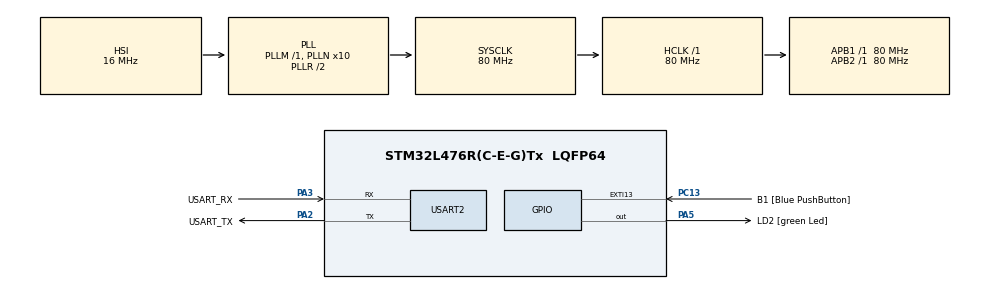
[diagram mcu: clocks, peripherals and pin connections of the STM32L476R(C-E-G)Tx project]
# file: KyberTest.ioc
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Mcu.Family=STM32L4
Mcu.Name=STM32L476R(C-E-G)Tx
Mcu.Package=LQFP64
NVIC.PriorityGroup=NVIC_PRIORITYGROUP_4
NVIC.USART2_IRQn=true\:0\:0\:false\:false\:true\:true\:true\:true
PA13\ (JTMS-SWDIO).GPIO_Label=TMS
PA13\ (JTMS-SWDIO).Mode=Serial_Wire
PA13\ (JTMS-SWDIO).Signal=SYS_JTMS-SWDIO
PA14\ (JTCK-SWCLK).GPIO_Label=TCK
PA14\ (JTCK-SWCLK).Mode=Serial_Wire
PA14\ (JTCK-SWCLK).Signal=SYS_JTCK-SWCLK
PA2.GPIO_Label=USART_TX
PA2.GPIO_Mode=GPIO_MODE_AF_PP
PA2.GPIO_PuPd=GPIO_NOPULL
PA2.GPIO_Speed=GPIO_SPEED_FREQ_VERY_HIGH
PA2.Mode=Asynchronous
PA2.Signal=USART2_TX
PA3.GPIO_Label=USART_RX
PA3.GPIO_Mode=GPIO_MODE_AF_PP
PA3.GPIO_PuPd=GPIO_NOPULL
PA3.GPIO_Speed=GPIO_SPEED_FREQ_VERY_HIGH
PA3.Mode=Asynchronous
PA3.Signal=USART2_RX
PA5.GPIO_Label=LD2 [green Led]
PA5.GPIO_ModeDefaultOutputPP=GPIO_MODE_OUTPUT_PP
PA5.GPIO_PuPd=GPIO_NOPULL
PA5.GPIO_Speed=GPIO_SPEED_FREQ_LOW
PA5.Signal=GPIO_Output
PB3\ (JTDO-TRACESWO).GPIO_Label=SWO
PB3\ (JTDO-TRACESWO).Signal=SYS_JTDO-SWO
PC13.GPIO_Label=B1 [Blue PushButton]
PC13.GPIO_ModeDefaultEXTI=GPIO_MODE_IT_FALLING
PC13.GPIO_PuPd=GPIO_NOPULL
PC13.Signal=GPXTI13
PC14-OSC32_IN\ (PC14).Mode=LSE-External-Oscillator
PC14-OSC32_IN\ (PC14).Signal=RCC_OSC32_IN
PC15-OSC32_OUT\ (PC15).Mode=LSE-External-Oscillator
PC15-OSC32_OUT\ (PC15).Signal=RCC_OSC32_OUT
PH0-OSC_IN\ (PH0).Signal=RCC_OSC_IN
PH1-OSC_OUT\ (PH1).Signal=RCC_OSC_OUT
ProjectManager.HeapSize=0x200
ProjectManager.StackSize=0x400
ProjectManager.TargetToolchain=STM32CubeIDE
RCC.ADCFreq_Value=64000000
RCC.AHBFreq_Value=80000000
RCC.APB1Freq_Value=80000000
RCC.APB1TimFreq_Value=80000000
RCC.APB2Freq_Value=80000000
RCC.APB2TimFreq_Value=80000000
RCC.CortexFreq_Value=80000000
RCC.HCLKFreq_Value=80000000
RCC.HSE_VALUE=8000000
RCC.HSI_VALUE=16000000
RCC.MSI_VALUE=4000000
RCC.PLLN=10
RCC.PLLSourceVirtual=RCC_PLLSOURCE_HSI
RCC.PREFETCH_ENABLE=1
RCC.SYSCLKFreq_VALUE=80000000
RCC.SYSCLKSource=RCC_SYSCLKSOURCE_PLLCLK
RCC.USBFreq_Value=64000000
RCC.VCOOutputFreq_Value=160000000
USART2.VirtualMode-Asynchronous=VM_ASYNC
board=NUCLEO-L476RG

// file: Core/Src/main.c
/* USER CODE BEGIN Header */
/**
  ******************************************************************************
  * @file           : main.c
  * @brief          : Main program body
  ******************************************************************************
  * @attention
  *
  * Copyright (c) 2024 STMicroelectronics.
  * All rights reserved.
  *
  * This software is licensed under terms that can be found in the LICENSE file
  * in the root directory of this software component.
  * If no LICENSE file comes with this software, it is provided AS-IS.
  *
  ******************************************************************************
  */
/* USER CODE END Header */
#include "main.h"

/* USER CODE BEGIN Includes */
#include "kyber.h"

/* USER CODE END Includes */

/* USER CODE BEGIN PD */

// 1 : Debug mode
// 0 : Execute mode
#define DEBUG_MODE 1

/* USER CODE END PD */

UART_HandleTypeDef huart2;

/* USER CODE BEGIN PV */

uint8_t StartSignal;
uint8_t SecretKey[SECRETKEYBYTES];
uint8_t CipherText[CIPHERTEXTBYTES];
uint8_t PlainText[PLAINTEXTBYTES];

/* USER CODE END PV */

void SystemClock_Config(void);
static void MX_GPIO_Init(void);
static void MX_USART2_UART_Init(void);

int main(void)
{

  /* MCU Configuration--------------------------------------------------------*/

  /* Reset of all peripherals, Initializes the Flash interface and the Systick. */
  HAL_Init();

  /* Configure the system clock */
  SystemClock_Config();

  /* Initialize all configured peripherals */
  MX_GPIO_Init();
  MX_USART2_UART_Init();

  /* Infinite loop */
  while (1)
  {

  }
}

void SystemClock_Config(void)
{
  RCC_OscInitTypeDef RCC_OscInitStruct = {0};
  RCC_ClkInitTypeDef RCC_ClkInitStruct = {0};

  /** Configure the main internal regulator output voltage
  */
  if (HAL_PWREx_ControlVoltageScaling(PWR_REGULATOR_VOLTAGE_SCALE1) != HAL_OK)
  {
    Error_Handler();
  }

  /** Initializes the RCC Oscillators according to the specified parameters
  * in the RCC_OscInitTypeDef structure.
  */
  RCC_OscInitStruct.OscillatorType = RCC_OSCILLATORTYPE_HSI;
  RCC_OscInitStruct.HSIState = RCC_HSI_ON;
  RCC_OscInitStruct.HSICalibrationValue = RCC_HSICALIBRATION_DEFAULT;
  RCC_OscInitStruct.PLL.PLLState = RCC_PLL_ON;
  RCC_OscInitStruct.PLL.PLLSource = RCC_PLLSOURCE_HSI;
  RCC_OscInitStruct.PLL.PLLM = 1;
  RCC_OscInitStruct.PLL.PLLN = 10;
  RCC_OscInitStruct.PLL.PLLP = RCC_PLLP_DIV7;
  RCC_OscInitStruct.PLL.PLLQ = RCC_PLLQ_DIV2;
  RCC_OscInitStruct.PLL.PLLR = RCC_PLLR_DIV2;
  if (HAL_RCC_OscConfig(&RCC_OscInitStruct) != HAL_OK)
  {
    Error_Handler();
  }

  /** Initializes the CPU, AHB and APB buses clocks
  */
  RCC_ClkInitStruct.ClockType = RCC_CLOCKTYPE_HCLK|RCC_CLOCKTYPE_SYSCLK
                              |RCC_CLOCKTYPE_PCLK1|RCC_CLOCKTYPE_PCLK2;
  RCC_ClkInitStruct.SYSCLKSource = RCC_SYSCLKSOURCE_PLLCLK;
  RCC_ClkInitStruct.AHBCLKDivider = RCC_SYSCLK_DIV1;
  RCC_ClkInitStruct.APB1CLKDivider = RCC_HCLK_DIV1;
  RCC_ClkInitStruct.APB2CLKDivider = RCC_HCLK_DIV1;

  if (HAL_RCC_ClockConfig(&RCC_ClkInitStruct, FLASH_LATENCY_4) != HAL_OK)
  {
    Error_Handler();
  }
}

static void MX_USART2_UART_Init(void)
{

  huart2.Instance = USART2;
  huart2.Init.BaudRate = 115200;
  huart2.Init.WordLength = UART_WORDLENGTH_8B;
  huart2.Init.StopBits = UART_STOPBITS_1;
  huart2.Init.Parity = UART_PARITY_NONE;
  huart2.Init.Mode = UART_MODE_TX_RX;
  huart2.Init.HwFlowCtl = UART_HWCONTROL_NONE;
  huart2.Init.OverSampling = UART_OVERSAMPLING_16;
  huart2.Init.OneBitSampling = UART_ONE_BIT_SAMPLE_DISABLE;
  huart2.AdvancedInit.AdvFeatureInit = UART_ADVFEATURE_NO_INIT;
  if (HAL_UART_Init(&huart2) != HAL_OK)
  {
    Error_Handler();
  }

}

static void MX_GPIO_Init(void)
{
  GPIO_InitTypeDef GPIO_InitStruct = {0};

  /* GPIO Ports Clock Enable */
  __HAL_RCC_GPIOC_CLK_ENABLE();
  __HAL_RCC_GPIOH_CLK_ENABLE();
  __HAL_RCC_GPIOA_CLK_ENABLE();
  __HAL_RCC_GPIOB_CLK_ENABLE();

  /*Configure GPIO pin Output Level */
  HAL_GPIO_WritePin(LD2_GPIO_Port, LD2_Pin, GPIO_PIN_RESET);

  /*Configure GPIO pin : B1_Pin */
  GPIO_InitStruct.Pin = B1_Pin;
  GPIO_InitStruct.Mode = GPIO_MODE_IT_FALLING;
  GPIO_InitStruct.Pull = GPIO_NOPULL;
  HAL_GPIO_Init(B1_GPIO_Port, &GPIO_InitStruct);

  /*Configure GPIO pin : LD2_Pin */
  GPIO_InitStruct.Pin = LD2_Pin;
  GPIO_InitStruct.Mode = GPIO_MODE_OUTPUT_PP;
  GPIO_InitStruct.Pull = GPIO_NOPULL;
  GPIO_InitStruct.Speed = GPIO_SPEED_FREQ_LOW;
  HAL_GPIO_Init(LD2_GPIO_Port, &GPIO_InitStruct);

}

/* USER CODE BEGIN 4 */

// TODO : 중복 ?��출인�? �?로벌 �??�� ?��?�� ?��?��?���?
// ?���? 계속 콜백?��?��거면 ?��?��?�� ?��마다 중첩?��?��거임..?
void HAL_UART_RxCpltCallback(UART_HandleTypeDef *huart)
{
  if (huart->Instance == USART2)
  {
    // Get StartSignal
	  HAL_UART_Receive_IT(&huart2, &StartSignal, 1);

    // if StartSignal == NULL
    // Set Secret Key
    if (!StartSignal)
    {
      SetSecretKey(&huart, &SecretKey);

      #if DEBUG_MODE
        PrintSecretKey(&huart, &SecretKey);
      #endif
    }

    // if StartSignal == 1
    // Start Dectyption
    else
    {
      GetCipherText(&huart, &CipherText);

      #if DEBUG_MODE
        PrintCipherText(&huart, &CipherText);
      #endif

      // Start decryption
      Decryption(&PlainText, &CipherText, &SecretKey);

      // End decryption
      PrintPlainText(&huart, &CipherText);

      // End Signal
      HAL_UART_Transmit(&huart, (uint8_t) 0, 1, TIMEOUT);
    }
  }
}

/* USER CODE END 4 */

void Error_Handler(void)
{
  __disable_irq();
  while (1)
  {
  }
}
